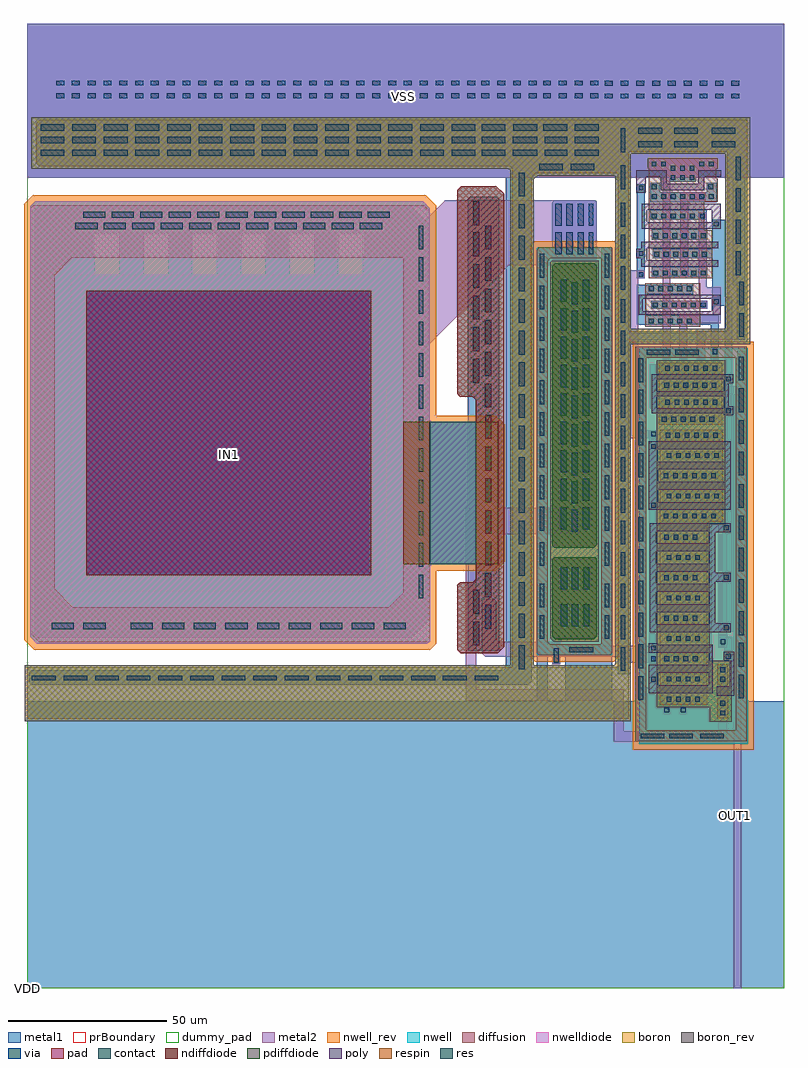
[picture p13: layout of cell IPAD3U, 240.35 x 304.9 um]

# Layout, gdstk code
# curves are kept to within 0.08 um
import gdstk
lib = gdstk.Library(unit=1e-6, precision=1e-09)
def R(c, l, rs):  # rectangles x0, y0, x1, y1
    for r in rs: c.add(gdstk.rectangle(r[:2], r[2:], *l))
def A(c, l, x, y, w, h, nx, ny, dx, dy):  # array of equal rectangles
    R(c, l, [(x+i*dx, y+j*dy, x+i*dx+w, y+j*dy+h) for i in range(nx) for j in range(ny)])
def P(c, l, *ps):  # polygons
    for p in ps: c.add(gdstk.Polygon(p, *l))
nwell = (1, 0)
diffusion = (2, 0)
nwell_rev = (3, 0)
poly = (4, 0)
boron = (5, 0)
boron_rev = (6, 0)
contact = (7, 0)
metal1 = (8, 0)
via = (9, 0)
metal2 = (10, 0)
pad = (11, 0)
prBoundary = (28, 0)
res = (35, 0)
respin = (36, 0)
pdiffdiode = (37, 0)
nwelldiode = (38, 0)
ndiffdiode = (39, 0)
dummy_pad = (40, 0)

ipad3u = lib.new_cell('IPAD3U')
R(ipad3u, nwell, [(193.6,77.3,227.9,202.35)])
P(ipad3u, nwell, [(161.5,105.25),(161.15,105.6),(161.15,233.95),(161.45,234.25),(185,234.25),(185.15,234.1),(185.15,105.6),(184.8,105.25)],
  [(3.15,108.95),(1.05,111.05),(1.05,247.25),(2.6,248.8),(125.25,248.8),(127.4,246.65),(127.4,179.652),(128.002,179.05),(147.45,179.05),(149.1,177.4),(149.1,135.7),(147.45,134.05),(128.058,134.05),(127.45,133.442),(127.45,109.75),(126.65,108.95)])
R(ipad3u, diffusion, [(199.8,178.1,219.8,197.8), (195.45,209.2,212.95,222.9)])
P(ipad3u, diffusion, [(137.101,105.95),(136.1,106.951),(136.1,127.549),(136.951,128.4),(140.987,128.4),(141.85,129.263),(141.85,185.999),(140.849,187),(136.906,187),(136,187.906),(136,252.285),(137.365,253.65),(148.4,253.65),(150.9,251.15),(150.9,108.002),(148.848,105.95)],
  [(3.95,109.3),(1.05,112.2),(1.05,246.563),(2.037,247.55),(119,247.55),(119,231),(14.214,231),(8.7,225.486),(8.7,126.204),(14.404,120.5),(114.449,120.5),(119,125.051),(119,247.55),(125.563,247.55),(127.35,245.763),(127.35,109.952),(126.698,109.3)],
  [(192.35,78),(192.35,202.8),(224.15,202.8),(224.15,199.3),(195.85,199.3),(195.85,81.5),(224.15,81.5),(224.15,202.8),(227.65,202.8),(227.65,78)],
  [(200.1,89.6),(200.1,176.6),(220.1,176.6),(220.1,147.5),(215.1,147.5),(215.1,89.6)],
  [(162.101,105.25),(161.15,106.201),(161.15,233.344),(162.056,234.25),(181.65,234.25),(181.65,230.75),(165.536,230.75),(164.65,229.864),(164.65,109.515),(165.415,108.75),(181.395,108.75),(181.65,109.005),(181.65,234.25),(184.95,234.25),(185.15,234.05),(185.15,106.052),(184.348,105.25)],
  [(0,85.15),(0,101.45),(153.45,101.45),(153.45,259.248),(152.848,259.85),(3.814,259.85),(2.85,260.814),(2.85,273.45),(4.05,274.65),(186.75,274.65),(186.75,257.65),(160.704,257.65),(159.55,256.496),(159.552,101.45),(186.295,101.45),(186.75,101.905),(186.75,274.65),(221.5,274.65),(221.5,264.55),(190.25,264.55),(190.25,207.7),(221.5,207.7),(221.5,274.65),(227.8,274.65),(227.8,204.3),(190.25,204.3),(190.25,85.15)],
  [(167.105,110.25),(166.15,111.205),(166.15,135.6),(166.8,136.25),(179.65,136.25),(180.15,135.75),(180.15,111.15),(179.25,110.25)],
  [(218.25,85.25),(218.25,91.85),(219.3,91.85),(219.3,95.9),(218.3,95.9),(218.3,102.45),(221.8,102.45),(221.8,85.25)],
  [(166.752,139.25),(166.15,139.852),(166.15,228.35),(167.05,229.25),(179.448,229.25),(180.15,228.548),(180.15,140.156),(179.244,139.25)],
  [(196.65,224.4),(196.65,259.25),(196.25,259.25),(196.25,262.35),(218.45,262.35),(218.45,259.15),(217.95,259.15),(217.95,255.9),(218.45,255.9),(218.45,248.6),(214.15,248.6),(214.15,239.7),(216.65,239.7),(216.65,224.4)])
R(ipad3u, nwell_rev, [(191.6,75.3,229.9,204.35)])
P(ipad3u, nwell_rev, [(160.672,103.25),(159.15,104.772),(159.15,234.778),(160.622,236.25),(185.828,236.25),(187.15,234.928),(187.15,104.772),(185.628,103.25)],
  [(2.322,106.95),(-0.95,110.222),(-0.95,248.078),(1.772,250.8),(126.078,250.8),(129.4,247.478),(129.4,181.05),(148.278,181.05),(151.1,178.228),(151.1,134.872),(148.278,132.05),(129.45,132.05),(129.45,108.922),(127.478,106.95)])
P(ipad3u, poly, [(196.6,93.3),(196.6,102.2),(215.6,102.2),(215.6,99.7),(199.6,99.7),(199.6,95.8),(215.6,95.8),(215.6,106.1),(196.65,106.1),(196.65,109),(199.55,109),(199.55,108.6),(216.8,108.6),(216.8,93.3)],
  [(197,112.5),(197,147),(215.6,147),(215.6,144.5),(199.05,144.5),(199.05,140.6),(215.6,140.6),(215.6,138.1),(199.05,138.1),(199.05,134.2),(215.6,134.2),(215.6,131.7),(199.05,131.7),(199.05,127.8),(215.6,127.8),(215.6,125.3),(199.05,125.3),(199.05,121.4),(215.6,121.4),(215.6,118.9),(199.05,118.9),(199.05,115),(215.6,115),(215.6,147),(222.6,147),(222.6,144.1),(217.6,144.1),(217.6,131.35),(222.6,131.35),(222.6,128.45),(217.6,128.45),(217.6,115.4),(222.6,115.4),(222.6,112.5)],
  [(218.1,92.4),(218.1,95.4),(222.3,95.4),(222.3,103.45),(220.35,103.45),(220.35,106.35),(223.65,106.35),(223.65,92.4)],
  [(220.4,181.1),(220.4,181.8),(197.55,181.8),(197.55,194.1),(220.4,194.1),(220.4,192.6),(199.1,192.6),(199.1,188.7),(220.4,188.7),(220.4,187.2),(199.1,187.2),(199.1,183.3),(220.4,183.3),(220.4,194.1),(223.3,194.1),(223.3,191.2),(221.9,191.2),(221.9,184),(223.3,184),(223.3,181.1)],
  [(196.65,151.2),(196.65,172.9),(220.6,172.9),(220.6,170.4),(199.55,170.4),(199.55,166.5),(220.6,166.5),(220.6,164),(199.6,164),(199.6,160.1),(220.6,160.1),(220.6,157.6),(199.6,157.6),(199.6,153.7),(220.6,153.7),(220.6,172.9),(222.6,172.9),(222.6,151.2)],
  [(193.4,212.9),(193.4,219.2),(216.5,219.2),(216.5,218),(194.75,218),(194.75,214.1),(216.5,214.1),(216.5,219.2),(219.4,219.2),(219.4,212.9)],
  [(192.7,251.55),(192.7,258.65),(202.35,258.65),(202.35,254.3),(212.25,254.3),(212.25,258.65),(219.6,258.65),(219.6,256.65),(214.25,256.65),(214.25,252.3),(200.35,252.3),(200.35,256.65),(195.6,256.65),(195.6,251.55)],
  [(194.45,240.2),(194.45,248.1),(216.5,248.1),(216.5,246.1),(196.15,246.1),(196.15,242.2),(216.5,242.2),(216.5,248.1),(219.4,248.1),(219.4,240.2)],
  [(194.3,228.1),(194.3,230.85),(192.7,230.85),(192.7,233.75),(194.3,233.75),(194.3,236),(218.55,236),(218.55,234),(196.15,234),(196.15,230.1),(218.55,230.1),(218.55,228.1)])
R(ipad3u, boron, [(215.85,84.25,222.8,103.45)])
P(ipad3u, boron, [(199.1,88.85),(199.1,198.5),(220.8,198.5),(220.8,146.75),(215.85,146.75),(215.85,88.85)],
  [(-0.7,84.45),(-0.7,102.15),(152.75,102.15),(152.75,258.6),(152.2,259.15),(1.4,259.15),(1.4,275.45),(186.05,275.45),(186.05,256.95),(161.451,256.95),(160.25,255.749),(160.25,102.15),(185.7,102.15),(186.05,102.5),(186.05,275.45),(220.75,275.45),(220.75,263.85),(190.95,263.85),(190.95,208.5),(220.75,208.5),(220.75,275.45),(228.65,275.45),(228.65,203.6),(190.95,203.6),(190.95,84.45)],
  [(166.6,109.55),(165.45,110.7),(165.45,229.5),(165.9,229.95),(180.85,229.95),(180.85,109.55)])
R(ipad3u, boron_rev, [(215.85,84.25,222.8,103.45)])
P(ipad3u, boron_rev, [(199.1,88.85),(199.1,198.5),(220.8,198.5),(220.8,146.75),(215.85,146.75),(215.85,88.85)],
  [(-0.7,84.45),(-0.7,102.15),(152.75,102.15),(152.75,258.6),(152.2,259.15),(1.4,259.15),(1.4,275.45),(186.05,275.45),(186.05,256.95),(161.451,256.95),(160.25,255.749),(160.25,102.15),(185.7,102.15),(186.05,102.5),(186.05,275.45),(220.75,275.45),(220.75,263.85),(190.95,263.85),(190.95,208.5),(220.75,208.5),(220.75,275.45),(228.65,275.45),(228.65,203.6),(190.95,203.6),(190.95,84.45)],
  [(166.6,109.55),(165.45,110.7),(165.45,229.5),(165.9,229.95),(180.85,229.95),(180.85,109.55)])
A(ipad3u, contact, 202.3, 90.6, 1.5, 1.5, 4, 2, 3, 6.4)
A(ipad3u, contact, 1.55, 97.3, 7.5, 1.5, 15, 1, 10, 0)
A(ipad3u, contact, 187.75, 100.35, 1.5, 7.5, 1, 12, 0, 10)
A(ipad3u, contact, 155.45, 100.85, 2, 7.5, 1, 3, 0, 10)
A(ipad3u, contact, 204.55, 103.4, 1.5, 1.5, 3, 1, 3, 0)
A(ipad3u, contact, 202.3, 109.8, 1.5, 1.5, 4, 3, 3, 12.8)
A(ipad3u, contact, 32.75, 113.55, 7, 2, 9, 1, 10, 0)
A(ipad3u, contact, 168.85, 114.4, 2, 7, 3, 2, 3.5, 11.75)
A(ipad3u, contact, 204.5, 116.2, 1.5, 1.5, 3, 3, 3, 12.8)
A(ipad3u, contact, 123.85, 123.25, 1.5, 7.5, 1, 10, 0, 10)
A(ipad3u, contact, 144.85, 123.65, 2, 7.5, 1, 12, 0, 10)
A(ipad3u, contact, 155.45, 130.35, 2, 7.5, 1, 13, 0, 10)
A(ipad3u, contact, 162.15, 144.65, 1.5, 7.5, 1, 9, 0, 10)
A(ipad3u, contact, 182.65, 144.65, 1.5, 7.5, 1, 9, 0, 10)
A(ipad3u, contact, 168.75, 145.05, 2, 7, 1, 9, 0, 9)
A(ipad3u, contact, 175.75, 145.05, 2, 7, 1, 9, 0, 9)
A(ipad3u, contact, 201.35, 148.5, 1.5, 1.5, 4, 2, 3, 12.8)
A(ipad3u, contact, 172.25, 153.25, 2, 7, 1, 8, 0, 9)
A(ipad3u, contact, 202.3, 154.9, 1.5, 1.5, 6, 2, 3, 12.8)
A(ipad3u, contact, 202, 174.1, 1.5, 1.5, 4, 1, 3, 0)
A(ipad3u, contact, 209.8, 179.1, 1.5, 1.5, 3, 1, 3, 0)
A(ipad3u, contact, 201.8, 184.5, 1.5, 1.5, 6, 2, 3, 10.8)
A(ipad3u, contact, 210.55, 189.9, 1.5, 1.5, 3, 1, 3, 0)
A(ipad3u, contact, 141.05, 191.45, 2, 7.5, 1, 5, 0, 10)
A(ipad3u, contact, 196.65, 210.2, 1.5, 1.5, 5, 2, 3, 10.2)
A(ipad3u, contact, 197.95, 215.3, 1.5, 1.5, 5, 1, 3, 0)
A(ipad3u, contact, 187.75, 220.8, 1.5, 7.5, 1, 3, 0, 10)
A(ipad3u, contact, 198.1, 225.4, 1.5, 1.5, 3, 2, 3, 11.8)
A(ipad3u, contact, 224.2, 225.45, 1.5, 7.5, 1, 4, 0, 10)
A(ipad3u, contact, 198.4, 231.3, 1.5, 1.5, 6, 1, 3, 0)
A(ipad3u, contact, 15.3, 240.05, 7, 2, 11, 1, 9, 0)
A(ipad3u, contact, 197.65, 243.4, 1.5, 1.5, 5, 2, 3, 6.2)
A(ipad3u, contact, 17.8, 243.55, 7, 2, 10, 1, 9, 0)
A(ipad3u, contact, 203.55, 255.55, 1.5, 1.5, 3, 2, 3, 3)
A(ipad3u, contact, 4.3, 263.15, 7.5, 2, 14, 3, 10, 4)
A(ipad3u, contact, 143.8, 263.15, 7.5, 2, 1, 3, 0, 4)
A(ipad3u, contact, 173.3, 263.15, 7.5, 2, 1, 3, 0, 4)
R(ipad3u, contact, [(194.05,79,201.55,80.5), (203.05,79,210.55,80.5), (212.85,79,220.35,80.5), (219.3,86.25,220.8,87.75), (219.3,89.35,220.8,90.85), (193.35,91.1,194.85,98.6), (225.15,91.6,226.65,99.1), (197.4,96.9,198.9,98.4), (219.3,96.9,220.8,98.4), (193.35,101.15,194.85,108.65), (225.15,101.65,226.65,109.15), (221.05,104.15,222.55,105.65), (171.55,106.25,179.05,107.75), (197.35,106.8,198.85,108.3), (141.05,108.4,143.05,115.9), (162.15,110.4,163.65,117.9), (182.65,110.4,184.15,117.9), (193.35,111.15,194.85,118.65), (225.15,111.65,226.65,119.15), (220.4,113.2,221.9,114.7), (7.85,113.55,14.85,115.55), (17.85,113.55,24.85,115.55), (141.05,118.45,143.05,125.95), (162.15,120.4,163.65,127.9), (182.65,120.4,184.15,127.9), (193.35,121.3,194.85,128.8), (225.15,121.8,226.65,129.3), (220.4,129.15,221.9,130.65), (193.35,131.3,194.85,138.8), (225.15,131.8,226.65,139.3), (162.15,133.5,163.65,141), (182.65,133.5,184.15,141), (193.35,141.35,194.85,148.85), (225.15,141.85,226.65,149.35), (220.4,144.8,221.9,146.3), (216.35,148.5,217.85,150), (193.35,151.35,194.85,158.85), (225.15,151.85,226.65,159.35), (197.35,151.9,198.85,153.4), (216.35,161.3,217.85,162.8), (193.35,161.6,194.85,169.1), (225.15,162.1,226.65,169.6), (197.35,170.55,198.85,172.05), (193.35,171.6,194.85,179.1), (225.15,172.1,226.65,179.6), (217,174.1,218.5,175.6), (200.8,179.1,202.3,180.6), (203.8,179.1,205.3,180.6), (193.35,181.65,194.85,189.15), (221.1,181.8,222.6,183.3), (225.15,182.15,226.65,189.65), (201.55,189.9,203.05,191.4), (204.55,189.9,206.05,191.4), (193.35,191.65,194.85,199.15), (221.1,191.9,222.6,193.4), (225.15,192.15,226.65,199.65), (195.95,200.3,203.45,201.8), (204.95,200.3,212.45,201.8), (225.2,205.9,226.7,213.4), (187.75,210.35,189.25,217.85), (225.2,215.9,226.7,223.4), (217.2,216.3,218.7,217.8), (123.85,223.6,125.35,231.1), (210.1,225.4,211.6,226.9), (213.1,225.4,214.6,226.9), (193.4,231.55,194.9,233.05), (123.85,233.6,125.35,241.1), (210.1,237.2,211.6,238.7), (213.1,237.2,214.6,238.7), (217.2,240.9,218.7,242.4), (141.05,241.3,143.05,248.8), (107.8,243.55,114.7,245.55), (215.65,249.6,217.15,251.1), (193.4,252.25,194.9,253.75), (197.65,252.65,199.15,254.15), (187.75,252.7,189.25,260.2), (215.45,252.7,216.95,254.2), (161.95,258.65,169.45,260.65), (171.95,258.65,179.45,260.65), (197.55,259.85,199.05,261.35), (200.55,259.85,202.05,261.35), (212.65,259.85,214.15,261.35), (215.65,259.85,217.15,261.35), (153.65,263.15,161.3,265.15), (163.8,263.15,170.8,265.15), (187.75,264.35,189.25,271.85), (193.35,265.85,200.85,267.85), (204.65,265.85,212.15,267.85), (216.5,265.85,224,267.85), (153.65,267.15,161.3,269.15), (163.8,267.15,170.8,269.15), (193.35,270.1,200.85,272.1), (204.65,270.1,212.15,272.1), (216.5,270.1,224,272.1), (153.8,271.15,161.3,273.15), (163.3,271.15,170.8,273.15)])
R(ipad3u, metal1, [(0,0,239.4,90.7), (218.65,96.4,221.5,102.05), (201.05,102.9,212.55,105.8), (201,115.25,212.5,118.2), (201,127.95,212.5,131), (201,140.65,212.5,143.8), (200.85,160.3,218.4,163.3), (201.5,172.95,219,176.1), (200.3,178.15,217.8,181.1), (201.05,189,218.55,191.9), (197.45,214.8,215.15,217.3), (192.9,224.4,195.4,254.25), (197.6,224.9,215.1,228.05), (197.6,236.7,215.1,240.05), (197.15,242.9,214.9,246.15), (0,256.2,239.4,304.9)])
P(ipad3u, metal1, [(1.358,95.85),(0.75,96.458),(0.75,99.868),(1.382,100.5),(150.598,100.5),(151.35,101.252),(151.35,256.2),(0,256.2),(0,304.9),(239.4,304.9),(239.4,256.2),(227.2,256.2),(227.2,205),(224.7,205),(224.7,222.2),(223.2,222.2),(223.2,256.2),(211.55,256.2),(211.55,255),(203.05,255),(203.05,256.2),(190.95,256.2),(190.95,207.3),(214.8,207.3),(214.8,204.8),(190.95,204.8),(190.95,99.3),(190.85,99.2),(186.85,99.2),(186.75,99.3),(186.75,255.344),(185.894,256.2),(160.252,256.2),(159.55,255.498),(159.55,97.066),(158.334,95.85)],
  [(196.85,96.4),(196.85,176.45),(199.35,176.45),(199.35,102.9),(199.4,102.9),(199.4,96.4)],
  [(0,0),(0,90.7),(160.689,90.7),(161.15,91.161),(161.15,233.85),(161.55,234.25),(164.197,234.25),(164.65,233.797),(164.65,91.05),(165,90.7),(169.7,90.7),(170.15,91.15),(170.15,108.248),(170.652,108.75),(181.395,108.75),(181.65,109.005),(181.65,233.847),(182.053,234.25),(184.8,234.25),(185.15,233.9),(185.15,91.202),(185.652,90.7),(191.949,90.7),(192.85,91.601),(192.85,202.3),(213.35,202.3),(213.35,199.8),(195.35,199.8),(195.35,95.755),(196.205,94.9),(224.149,94.9),(224.65,95.401),(224.65,201.55),(227.15,201.55),(227.15,92.001),(228.451,90.7),(239.4,90.7),(239.4,0)],
  [(219.9,112.7),(219.9,153.7),(201.6,153.7),(201.6,156.9),(219.95,156.9),(219.95,166.5),(201.6,166.5),(201.6,169.7),(220.6,169.7),(220.6,215.8),(216.7,215.8),(216.7,230.8),(197.9,230.8),(197.9,233.75),(216.7,233.75),(216.7,242.9),(220.8,242.9),(220.8,218.7),(223.1,218.7),(223.1,112.7)],
  [(2.45,110.8),(1.75,111.5),(1.75,245.949),(3.351,247.55),(29.2,247.55),(29.2,238.55),(21.5,238.55),(21.5,225.55),(29.2,225.55),(29.2,247.55),(44.6,247.55),(44.6,238.55),(36.9,238.55),(36.9,225.55),(44.6,225.55),(44.6,247.55),(60,247.55),(60,238.55),(52.3,238.55),(52.3,225.55),(60,225.55),(60,247.55),(75.4,247.55),(75.4,238.55),(67.7,238.55),(67.7,225.55),(75.4,225.55),(75.4,247.55),(90.8,247.55),(90.8,238.55),(83.1,238.55),(83.1,225.55),(90.8,225.55),(90.8,247.55),(106.2,247.55),(106.2,238.55),(98.5,238.55),(98.5,225.55),(106.2,225.55),(106.2,247.55),(121.25,247.55),(127.4,241.4),(127.4,214),(127.3,214),(127.35,116.437),(121.713,110.8)],
  [(139.35,106.65),(139.35,249.385),(140.215,250.25),(148.548,250.25),(149.35,249.448),(149.35,106.65)],
  [(201.8,96.5),(201.8,99.6),(214.05,99.6),(214.05,109.3),(201.8,109.3),(201.8,112.75),(214.05,112.75),(214.05,121.65),(201.8,121.65),(201.8,124.6),(214.05,124.6),(214.05,134.2),(201.8,134.2),(201.8,137.4),(214.05,137.4),(214.05,147.35),(200.85,147.35),(200.85,150.5),(218.35,150.5),(218.35,147.55),(216.55,147.55),(216.55,96.5)],
  [(166.15,102.35),(166.15,135.394),(166.157,135.412),(166.237,135.531),(166.956,136.25),(179.348,136.25),(180.15,135.448),(180.15,111.27),(179.13,110.25),(169.601,110.25),(168.65,109.299),(168.65,102.35)],
  [(220.55,103.65),(220.55,107.9),(218.6,107.9),(218.6,111.1),(223.05,111.1),(223.05,103.65)],
  [(196.9,183.3),(196.9,197.3),(216.3,197.3),(216.3,209.7),(192.9,209.7),(192.9,222.4),(210.65,222.4),(210.65,219.35),(195.9,219.35),(195.9,212.85),(218.8,212.85),(218.8,194.35),(199.5,194.35),(199.5,186.5),(218.8,186.5),(218.8,183.3)],
  [(166.75,139.25),(166.15,139.85),(166.15,248.498),(166.802,249.15),(179.747,249.15),(180.115,248.782),(180.15,248.697),(180.15,140.156),(179.244,139.25)],
  [(197.15,248.55),(197.15,254.65),(200.05,254.65),(200.05,251.6),(214.9,251.6),(214.9,254.7),(218.15,254.7),(218.15,248.55)])
A(ipad3u, via, 201.5, 116.2, 1.5, 1.5, 1, 3, 0, 12.8)
A(ipad3u, via, 182.7, 281.4, 2.5, 1.5, 9, 2, 5, 4)
A(ipad3u, via, 9.2, 281.45, 2.5, 1.5, 27, 2, 5, 4)
A(ipad3u, via, 143.7, 281.45, 2.5, 1.5, 4, 2, 5, 4)
A(ipad3u, via, 163.2, 281.45, 2.5, 1.5, 4, 2, 5, 4)
R(ipad3u, via, [(201.55,87.15,203.05,88.65), (206.8,87.15,208.3,88.65), (219.3,99.9,220.8,101.4), (166.65,102.85,168.15,104.35), (197.35,103.4,198.85,104.9), (201.55,103.4,203.05,104.9), (166.65,104.1,168.15,107.5), (219.35,108.75,220.85,110.25), (144.85,113.65,146.85,121.15), (18.8,130.55,108.8,220.55), (172.25,144.25,174.25,151.25), (213.35,148.5,214.85,150), (213.35,161.3,214.85,162.8), (214,174.1,215.5,175.6), (197.35,174.45,198.85,175.95), (206.8,179.1,208.3,180.6), (207.55,189.9,209.05,191.4), (216.8,200.5,218.3,202), (213.15,215.3,214.65,216.8), (193.4,224.9,194.9,226.4), (207.1,225.4,208.6,226.9), (167.05,232.05,169.05,239.05), (170.6,232.05,172.6,239.05), (174.1,232.05,176.1,239.05), (177.6,232.05,179.1,239.05), (207.1,237.2,208.6,238.7), (167.05,241.05,169.05,248.05), (170.6,241.05,172.6,248.05), (174.1,241.05,176.1,248.05), (177.6,241.05,179.1,248.05), (212.9,243.4,214.4,244.9), (212.65,249.6,214.15,251.1)])
R(ipad3u, metal2, [(223.45,0,225.95,27.95), (201.05,86.65,203.55,105.4), (0,256.2,239.4,304.9)])
P(ipad3u, metal2, [(206.6,224.9),(206.6,251.6),(214.65,251.6),(214.65,249.1),(209.1,249.1),(209.1,224.9)],
  [(223.45,27.95),(223.45,187.85),(216.3,187.85),(216.3,202.5),(218.8,202.5),(218.8,190.4),(225.95,190.4),(225.95,27.95)],
  [(14.751,125.55),(13.8,126.501),(13.8,224.7),(14.65,225.55),(108.749,225.55),(132.15,248.951),(132.15,249.15),(179.547,249.15),(180.2,248.497),(180.2,229.8),(179,228.6),(152.298,228.6),(113.8,190.118),(113.8,126.352),(112.998,125.55)],
  [(218.6,107.55),(218.6,181.6),(211.75,181.6),(211.75,207.8),(221.85,207.8),(221.85,256.2),(203.5,256.2),(203.5,217.3),(215.15,217.3),(215.15,214.8),(203.55,214.8),(203.55,181.15),(204.3,181.15),(204.3,167.35),(203.55,167.35),(203.55,115.3),(201,115.3),(201,169.85),(201.75,169.85),(201.75,178.6),(201,178.6),(201,256.2),(0,256.2),(0,304.9),(239.4,304.9),(239.4,256.2),(224.55,256.2),(224.55,205.1),(214.45,205.1),(214.45,184.4),(221.5,184.4),(221.5,107.55)],
  [(206.3,86.65),(206.3,212.85),(216.9,212.85),(216.9,219.15),(212.4,219.15),(212.4,245.4),(214.9,245.4),(214.9,221.65),(219.4,221.65),(219.4,210.3),(208.8,210.3),(208.8,192.05),(209.75,192.05),(209.75,189.15),(208.8,189.15),(208.8,86.65)],
  [(185.5,77.95),(185.5,90.85),(138.8,90.85),(138.8,151.95),(174.95,151.95),(174.95,143.55),(142.1,143.55),(142.1,94.45),(188.7,94.45),(188.7,81.25),(218.6,81.25),(218.6,102.05),(221.5,102.05),(221.5,77.95)],
  [(166.15,102.35),(166.15,104.4),(165.7,104.85),(144.856,104.85),(144,105.706),(144,122.597),(144.453,123.05),(147.683,123.05),(148.35,122.383),(148.35,110.505),(149.305,109.55),(168.05,109.55),(169.202,108.3),(199.35,108.3),(199.35,102.9),(189.35,102.9),(188.35,103.9),(188.35,104.142),(187.742,104.75),(169,104.75),(168.65,104.4),(168.65,102.35)],
  [(190.65,173.95),(190.65,226.95),(195.4,226.95),(195.4,224.4),(193.3,224.4),(193.3,176.45),(199.35,176.45),(199.35,173.95)],
  [(212.85,148),(212.85,176.1),(216.15,176.1),(216.15,173.6),(215.35,173.6),(215.35,148)])
R(ipad3u, pad, [(18.8,130.55,108.8,220.55)])
R(ipad3u, prBoundary, [(0,0,239.4,304.9)])
R(ipad3u, res, [(127.35,134.05,141.85,179.05)])
R(ipad3u, respin, [(119,134.05,127.35,179.05), (141.85,134.05,149.1,179.05)])
P(ipad3u, pdiffdiode, [(167.105,110.25),(166.15,111.205),(166.15,135.6),(166.8,136.25),(179.65,136.25),(180.15,135.75),(180.15,111.15),(179.25,110.25)],
  [(166.752,139.25),(166.15,139.852),(166.15,228.35),(167.05,229.25),(179.448,229.25),(180.15,228.548),(180.15,140.156),(179.244,139.25)])
P(ipad3u, nwelldiode, [(3.15,108.95),(1.05,111.05),(1.05,247.25),(2.6,248.8),(125.25,248.8),(127.4,246.65),(127.4,179.652),(128.002,179.05),(147.45,179.05),(149.1,177.4),(149.1,135.7),(147.45,134.05),(128.058,134.05),(127.45,133.442),(127.45,109.75),(126.65,108.95)])
P(ipad3u, ndiffdiode, [(137.101,105.95),(136.1,106.951),(136.1,127.549),(136.951,128.4),(140.987,128.4),(141.85,129.263),(141.85,185.999),(140.849,187),(136.906,187),(136,187.906),(136,252.285),(137.365,253.65),(148.4,253.65),(150.9,251.15),(150.9,108.002),(148.848,105.95)])
R(ipad3u, dummy_pad, [(0,0,239.4,304.9)])
ipad3u.add(gdstk.Label('VSS', (119,281.8), layer=10, texttype=7))
ipad3u.add(gdstk.Label('IN1', (64,168.75), layer=10, texttype=7))
ipad3u.add(gdstk.Label('OUT1', (224.05,54.6), layer=10, texttype=7))
ipad3u.add(gdstk.Label('VDD', (0.001,0.001), layer=8, texttype=7))

lib.write_gds('IPAD3U.gds')
